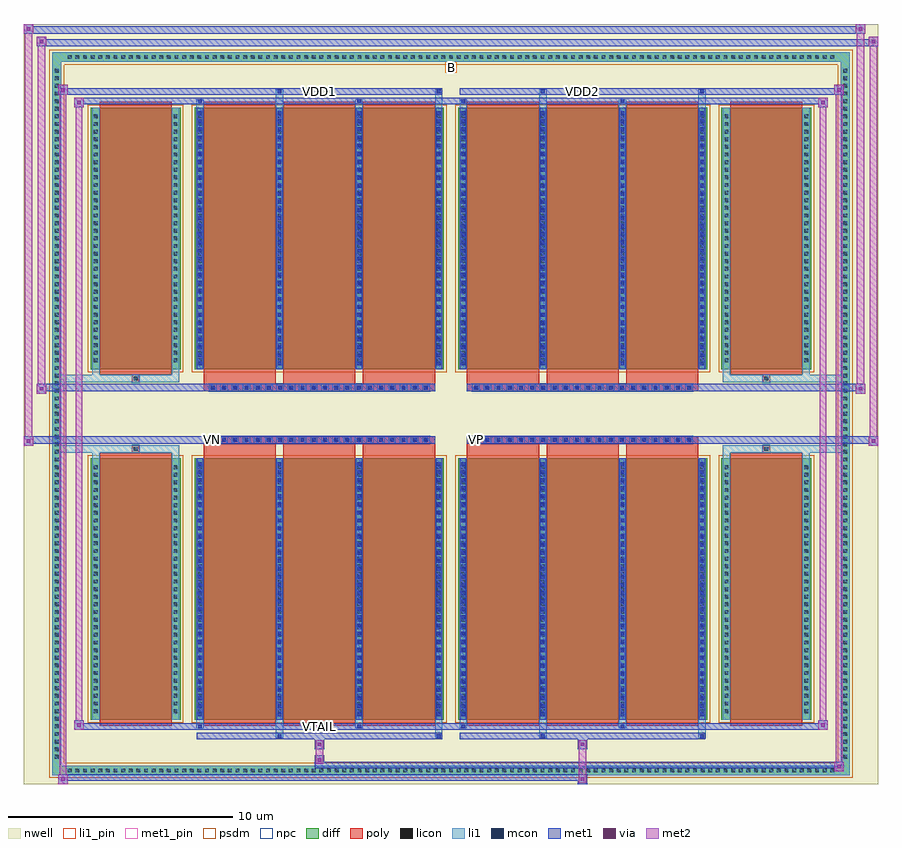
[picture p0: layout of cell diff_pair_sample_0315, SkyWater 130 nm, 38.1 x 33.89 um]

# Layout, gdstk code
import gdstk
lib = gdstk.Library(unit=1e-6, precision=5e-09)
def R(c, l, rs):  # rectangles x0, y0, x1, y1
    for r in rs: c.add(gdstk.rectangle(r[:2], r[2:], *l))
def A(c, l, x, y, w, h, nx, ny, dx, dy):  # array of equal rectangles
    R(c, l, [(x+i*dx, y+j*dy, x+i*dx+w, y+j*dy+h) for i in range(nx) for j in range(ny)])
def P(c, l, *ps):  # polygons
    for p in ps: c.add(gdstk.Polygon(p, *l))
nwell = (64, 20)
diff = (65, 20)
poly = (66, 20)
licon = (66, 44)
li1_pin = (67, 16)
li1 = (67, 20)
mcon = (67, 44)
met1_pin = (68, 16)
met1 = (68, 20)
via = (68, 44)
met2 = (69, 20)
psdm = (94, 20)
npc = (95, 20)

diff_pair_sample_0315 = lib.new_cell('diff_pair_sample_0315')
R(diff_pair_sample_0315, nwell, [(-19.05,-16.51,19.05,17.38), (-16.37,-14.7,-0.01,-0.8), (0.01,-14.7,16.37,-0.8), (-16.37,0.8,-0.01,14.7), (0.01,0.8,16.37,14.7)])
A(diff_pair_sample_0315, diff, -17.205, -16.11, 0.41, 0.41, 101, 2, 0.34, 31.81)
A(diff_pair_sample_0315, diff, -17.78, -15.505, 0.41, 0.41, 1, 91, 0, 0.34)
A(diff_pair_sample_0315, diff, 17.37, -15.505, 0.41, 0.41, 1, 91, 0, 0.34)
R(diff_pair_sample_0315, diff, [(-17.205,-16.11,17.205,-15.7), (-17.78,-15.505,-17.37,15.505), (17.37,-15.505,17.78,15.505), (-16.06,-13.655,-12.06,-1.985), (-11.42,-13.655,-0.32,-1.985), (0.32,-13.655,11.42,-1.985), (12.06,-13.655,16.06,-1.985), (-16.06,1.985,-12.06,13.655), (-11.42,1.985,-0.32,13.655), (0.32,1.985,11.42,13.655), (12.06,1.985,16.06,13.655), (-17.205,15.7,17.205,16.11)])
P(diff_pair_sample_0315, diff, [(17.78,16.11),(-17.78,16.11),(-17.78,-15.7),(-17.37,-15.7),(-17.37,15.7),(17.37,15.7),(17.37,-15.7),(-17.37,-15.7),(-17.78,-15.7),(-17.78,-16.11),(17.78,-16.11)])
A(diff_pair_sample_0315, poly, -11.03, -13.905, 3.22, 12.17, 3, 2, 3.55, 15.64)
A(diff_pair_sample_0315, poly, 0.71, -13.905, 3.22, 12.17, 3, 2, 3.55, 15.64)
A(diff_pair_sample_0315, poly, -11.03, -1.735, 3.22, 0.405, 3, 2, 3.55, 3.065)
A(diff_pair_sample_0315, poly, 0.71, -1.735, 3.22, 0.405, 3, 2, 3.55, 3.065)
A(diff_pair_sample_0315, poly, -10.785, -1.33, 0.33, 0.33, 20, 2, 0.5, 2.33)
A(diff_pair_sample_0315, poly, 0.955, -1.33, 0.33, 0.33, 20, 2, 0.5, 2.33)
R(diff_pair_sample_0315, poly, [(-15.67,-13.905,-12.45,-1.735), (12.45,-13.905,15.67,-1.735), (-14.225,-1.735,-13.895,-1.405), (-14.225,-1.735,-13.895,-1.405), (13.895,-1.735,14.225,-1.405), (13.895,-1.735,14.225,-1.405), (-11.03,-1.33,-0.71,-1), (0.71,-1.33,11.03,-1), (-11.03,1,-0.71,1.33), (0.71,1,11.03,1.33), (-14.225,1.405,-13.895,1.735), (-14.225,1.405,-13.895,1.735), (13.895,1.405,14.225,1.735), (13.895,1.405,14.225,1.735), (-15.67,1.735,-12.45,13.905), (12.45,1.735,15.67,13.905)])
A(diff_pair_sample_0315, licon, -17.085, -15.99, 0.17, 0.17, 101, 2, 0.34, 31.81)
A(diff_pair_sample_0315, licon, -17.66, -15.385, 0.17, 0.17, 1, 91, 0, 0.34)
A(diff_pair_sample_0315, licon, 17.49, -15.385, 0.17, 0.17, 1, 91, 0, 0.34)
A(diff_pair_sample_0315, licon, -15.92, -13.345, 0.17, 0.17, 1, 33, 0, 0.34)
A(diff_pair_sample_0315, licon, -12.37, -13.345, 0.17, 0.17, 1, 33, 0, 0.34)
A(diff_pair_sample_0315, licon, -11.28, -13.345, 0.17, 0.17, 4, 33, 3.55, 0.34)
A(diff_pair_sample_0315, licon, 0.46, -13.345, 0.17, 0.17, 4, 33, 3.55, 0.34)
A(diff_pair_sample_0315, licon, 12.2, -13.345, 0.17, 0.17, 1, 33, 0, 0.34)
A(diff_pair_sample_0315, licon, 15.75, -13.345, 0.17, 0.17, 1, 33, 0, 0.34)
A(diff_pair_sample_0315, licon, -10.705, -1.25, 0.17, 0.17, 20, 2, 0.5, 2.33)
A(diff_pair_sample_0315, licon, 1.035, -1.25, 0.17, 0.17, 20, 2, 0.5, 2.33)
A(diff_pair_sample_0315, licon, -15.92, 2.295, 0.17, 0.17, 1, 33, 0, 0.34)
A(diff_pair_sample_0315, licon, -12.37, 2.295, 0.17, 0.17, 1, 33, 0, 0.34)
A(diff_pair_sample_0315, licon, -11.28, 2.295, 0.17, 0.17, 4, 33, 3.55, 0.34)
A(diff_pair_sample_0315, licon, 0.46, 2.295, 0.17, 0.17, 4, 33, 3.55, 0.34)
A(diff_pair_sample_0315, licon, 12.2, 2.295, 0.17, 0.17, 1, 33, 0, 0.34)
A(diff_pair_sample_0315, licon, 15.75, 2.295, 0.17, 0.17, 1, 33, 0, 0.34)
R(diff_pair_sample_0315, licon, [(-14.145,-1.655,-13.975,-1.485), (13.975,-1.655,14.145,-1.485), (-14.145,1.485,-13.975,1.655), (13.975,1.485,14.145,1.655)])
R(diff_pair_sample_0315, li1_pin, [(-0.25,15.2,0.25,15.7)])
A(diff_pair_sample_0315, li1, -17.165, -16.07, 0.33, 0.33, 101, 2, 0.34, 31.81)
A(diff_pair_sample_0315, li1, -17.74, -15.465, 0.33, 0.33, 1, 91, 0, 0.34)
A(diff_pair_sample_0315, li1, 17.41, -15.465, 0.33, 0.33, 1, 91, 0, 0.34)
A(diff_pair_sample_0315, li1, -11.36, -13.655, 0.33, 11.67, 4, 2, 3.55, 15.64)
A(diff_pair_sample_0315, li1, 0.38, -13.655, 0.33, 11.67, 4, 2, 3.55, 15.64)
A(diff_pair_sample_0315, li1, -11.28, -13.485, 0.17, 0.17, 4, 32, 3.55, 0.36)
A(diff_pair_sample_0315, li1, -11.28, -13.485, 0.17, 11.33, 4, 2, 3.55, 15.64)
A(diff_pair_sample_0315, li1, 0.46, -13.485, 0.17, 0.17, 4, 32, 3.55, 0.36)
A(diff_pair_sample_0315, li1, 0.46, -13.485, 0.17, 11.33, 4, 2, 3.55, 15.64)
A(diff_pair_sample_0315, li1, -16, -13.425, 0.33, 0.33, 1, 33, 0, 0.34)
A(diff_pair_sample_0315, li1, -12.45, -13.425, 0.33, 0.33, 1, 33, 0, 0.34)
A(diff_pair_sample_0315, li1, -11.36, -13.425, 0.33, 0.33, 4, 33, 3.55, 0.34)
A(diff_pair_sample_0315, li1, 0.38, -13.425, 0.33, 0.33, 4, 33, 3.55, 0.34)
A(diff_pair_sample_0315, li1, 12.12, -13.425, 0.33, 0.33, 1, 33, 0, 0.34)
A(diff_pair_sample_0315, li1, 15.67, -13.425, 0.33, 0.33, 1, 33, 0, 0.34)
A(diff_pair_sample_0315, li1, -10.785, -1.33, 0.33, 0.33, 20, 2, 0.5, 2.33)
A(diff_pair_sample_0315, li1, 0.955, -1.33, 0.33, 0.33, 20, 2, 0.5, 2.33)
A(diff_pair_sample_0315, li1, -11.28, 2.155, 0.17, 0.17, 4, 32, 3.55, 0.36)
A(diff_pair_sample_0315, li1, 0.46, 2.155, 0.17, 0.17, 4, 32, 3.55, 0.36)
A(diff_pair_sample_0315, li1, -16, 2.215, 0.33, 0.33, 1, 33, 0, 0.34)
A(diff_pair_sample_0315, li1, -12.45, 2.215, 0.33, 0.33, 1, 33, 0, 0.34)
A(diff_pair_sample_0315, li1, -11.36, 2.215, 0.33, 0.33, 4, 33, 3.55, 0.34)
A(diff_pair_sample_0315, li1, 0.38, 2.215, 0.33, 0.33, 4, 33, 3.55, 0.34)
A(diff_pair_sample_0315, li1, 12.12, 2.215, 0.33, 0.33, 1, 33, 0, 0.34)
A(diff_pair_sample_0315, li1, 15.67, 2.215, 0.33, 0.33, 1, 33, 0, 0.34)
R(diff_pair_sample_0315, li1, [(-17.78,-16.11,-17.37,-15.7), (-17.78,-16.11,-17.37,-15.7), (-17.37,-16.11,17.37,-15.7), (17.37,-16.11,17.78,-15.7), (17.37,-16.11,17.78,-15.7), (-17.78,-15.7,-17.37,15.7), (17.37,-15.7,17.78,15.7), (-7.81,-14.46,-7.48,-13.655), (-7.73,-14.46,-7.56,-14.29), (-0.71,-14.46,-0.38,-13.655), (-0.63,-14.46,-0.46,-14.29), (3.93,-14.46,4.26,-13.655), (4.01,-14.46,4.18,-14.29), (11.03,-14.46,11.36,-13.655), (11.11,-14.46,11.28,-14.29), (-11.36,-14.03,-11.03,-13.655), (-11.28,-14.03,-11.11,-13.86), (-4.26,-14.03,-3.93,-13.655), (-4.18,-14.03,-4.01,-13.86), (0.38,-14.03,0.71,-13.655), (0.46,-14.03,0.63,-13.86), (7.48,-14.03,7.81,-13.655), (7.56,-14.03,7.73,-13.86), (-16,-13.655,-15.67,-1.985), (-12.45,-13.655,-12.12,-1.985), (12.12,-13.655,12.45,-1.985), (15.67,-13.655,16,-1.985), (-16,-1.985,-15.67,-1.405), (-12.45,-1.985,-12.12,-1.405), (12.12,-1.985,12.45,-1.405), (15.67,-1.985,16,-1.405), (-17.78,-1.735,-14.225,-1.405), (-16,-1.735,-14.225,-1.405), (-14.225,-1.735,-13.895,-1.405), (-13.895,-1.735,-12.12,-1.405), (12.12,-1.735,13.895,-1.405), (13.895,-1.735,14.225,-1.405), (13.895,-1.735,17.78,-1.405), (14.225,-1.735,16,-1.405), (-17.78,1.405,-14.225,1.735), (-16,1.405,-14.225,1.735), (-16,1.405,-15.67,1.985), (-14.225,1.405,-13.895,1.735), (-13.895,1.405,-12.12,1.735), (-12.45,1.405,-12.12,1.985), (12.12,1.405,13.895,1.735), (12.12,1.405,12.45,1.985), (13.895,1.405,14.225,1.735), (13.895,1.405,17.78,1.735), (14.225,1.405,16,1.735), (15.67,1.405,16,1.985), (-16,1.985,-15.67,13.655), (-12.45,1.985,-12.12,13.655), (12.12,1.985,12.45,13.655), (15.67,1.985,16,13.655), (-11.36,13.655,-11.03,14.03), (-7.81,13.655,-7.48,14.46), (-4.26,13.655,-3.93,14.03), (-0.71,13.655,-0.38,14.46), (0.38,13.655,0.71,14.03), (3.93,13.655,4.26,14.46), (7.48,13.655,7.81,14.03), (11.03,13.655,11.36,14.46), (-11.28,13.86,-11.11,14.03), (-4.18,13.86,-4.01,14.03), (0.46,13.86,0.63,14.03), (7.56,13.86,7.73,14.03), (-7.73,14.29,-7.56,14.46), (-0.63,14.29,-0.46,14.46), (4.01,14.29,4.18,14.46), (11.11,14.29,11.28,14.46), (-17.78,15.7,-17.37,16.11), (-17.78,15.7,-17.37,16.11), (-17.37,15.7,17.37,16.11), (17.37,15.7,17.78,16.11), (17.37,15.7,17.78,16.11)])
A(diff_pair_sample_0315, mcon, -11.28, -13.485, 0.17, 0.17, 4, 32, 3.55, 0.36)
A(diff_pair_sample_0315, mcon, 0.46, -13.485, 0.17, 0.17, 4, 32, 3.55, 0.36)
A(diff_pair_sample_0315, mcon, -10.705, -1.25, 0.17, 0.17, 20, 2, 0.5, 2.33)
A(diff_pair_sample_0315, mcon, 1.035, -1.25, 0.17, 0.17, 20, 2, 0.5, 2.33)
A(diff_pair_sample_0315, mcon, -11.28, 2.155, 0.17, 0.17, 4, 32, 3.55, 0.36)
A(diff_pair_sample_0315, mcon, 0.46, 2.155, 0.17, 0.17, 4, 32, 3.55, 0.36)
R(diff_pair_sample_0315, mcon, [(-7.73,-14.46,-7.56,-14.29), (-0.63,-14.46,-0.46,-14.29), (4.01,-14.46,4.18,-14.29), (11.11,-14.46,11.28,-14.29), (-11.28,-14.03,-11.11,-13.86), (-4.18,-14.03,-4.01,-13.86), (0.46,-14.03,0.63,-13.86), (7.56,-14.03,7.73,-13.86), (-11.28,13.86,-11.11,14.03), (-4.18,13.86,-4.01,14.03), (0.46,13.86,0.63,14.03), (7.56,13.86,7.73,14.03), (-7.73,14.29,-7.56,14.46), (-0.63,14.29,-0.46,14.46), (4.01,14.29,4.18,14.46), (11.11,14.29,11.28,14.46)])
R(diff_pair_sample_0315, met1_pin, [(-6.005,-14.07,-5.735,-13.8), (-10.755,-1.29,-10.485,-1.02), (0.985,-1.29,1.255,-1.02), (-6.005,14.25,-5.735,14.52), (5.735,14.25,6.005,14.52)])
A(diff_pair_sample_0315, met1, -11.34, -13.655, 0.29, 11.67, 4, 2, 3.55, 15.64)
A(diff_pair_sample_0315, met1, 0.4, -13.655, 0.29, 11.67, 4, 2, 3.55, 15.64)
A(diff_pair_sample_0315, met1, -11.34, -13.545, 0.29, 0.29, 4, 32, 3.55, 0.36)
A(diff_pair_sample_0315, met1, 0.4, -13.545, 0.29, 0.29, 4, 32, 3.55, 0.36)
A(diff_pair_sample_0315, met1, -10.765, -1.31, 0.29, 0.29, 20, 2, 0.5, 2.33)
A(diff_pair_sample_0315, met1, 0.975, -1.31, 0.29, 0.29, 20, 2, 0.5, 2.33)
A(diff_pair_sample_0315, met1, -11.34, 2.095, 0.29, 0.29, 4, 32, 3.55, 0.36)
A(diff_pair_sample_0315, met1, 0.4, 2.095, 0.29, 0.29, 4, 32, 3.55, 0.36)
R(diff_pair_sample_0315, met1, [(-17.51,-16.51,-17.08,-16.08), (5.655,-16.51,6.085,-16.08), (-17.51,-16.37,6.085,-16.08), (17.08,-15.94,17.51,-15.51), (-6.085,-15.8,17.51,-15.51), (-6.085,-15.66,-5.655,-15.23), (-6.085,-14.95,-5.655,-14.52), (5.655,-14.95,6.085,-14.52), (-11.34,-14.52,-0.4,-14.23), (-7.79,-14.52,-7.5,-14.23), (-0.69,-14.52,-0.4,-14.23), (0.4,-14.52,11.34,-14.23), (3.95,-14.52,4.24,-14.23), (11.05,-14.52,11.34,-14.23), (-16.8,-14.09,-16.37,-13.66), (-16.8,-14.09,-11.34,-13.8), (-11.34,-14.09,-11.05,-13.8), (-11.34,-14.09,-0.4,-13.8), (-4.24,-14.09,-3.95,-13.8), (-0.4,-14.09,0.4,-13.8), (0.4,-14.09,0.69,-13.8), (0.4,-14.09,11.34,-13.8), (7.5,-14.09,7.79,-13.8), (11.34,-14.09,16.8,-13.8), (16.37,-14.09,16.8,-13.66), (-19.05,-1.43,-18.62,-1), (18.62,-1.43,19.05,-1), (-19.05,-1.33,-0.71,-1), (-11.03,-1.33,-0.71,-1), (0.71,-1.33,11.03,-1), (0.71,-1.33,19.05,-1), (-18.48,0.9,-18.05,1.33), (18.05,0.9,18.48,1.33), (-18.48,1,-11.03,1.33), (-11.03,1,-0.71,1.33), (0.71,1,11.03,1.33), (11.03,1,18.48,1.33), (-16.8,13.66,-16.37,14.09), (16.37,13.66,16.8,14.09), (-16.8,13.8,-11.34,14.09), (-11.34,13.8,-11.05,14.09), (-11.34,13.8,-0.4,14.09), (-4.24,13.8,-3.95,14.09), (-0.4,13.8,0.4,14.09), (0.4,13.8,0.69,14.09), (0.4,13.8,11.34,14.09), (7.5,13.8,7.79,14.09), (11.34,13.8,16.8,14.09), (-17.51,14.23,-17.08,14.66), (-17.51,14.23,-11.34,14.52), (-11.34,14.23,-0.4,14.52), (-7.79,14.23,-7.5,14.52), (-0.69,14.23,-0.4,14.52), (0.4,14.23,11.34,14.52), (3.95,14.23,4.24,14.52), (11.05,14.23,11.34,14.52), (11.34,14.23,17.51,14.52), (17.08,14.23,17.51,14.66), (-18.48,16.38,-18.05,16.81), (-18.48,16.38,-16.37,16.71), (-16.37,16.38,16.37,16.71), (16.37,16.38,19.05,16.71), (18.62,16.38,19.05,16.81), (-19.05,16.95,-18.62,17.38), (-19.05,16.95,-16.37,17.28), (-16.37,16.95,16.37,17.28), (16.37,16.95,18.48,17.28), (18.05,16.95,18.48,17.38)])
R(diff_pair_sample_0315, via, [(-17.37,-16.37,-17.22,-16.22), (5.795,-16.37,5.945,-16.22), (17.22,-15.8,17.37,-15.65), (-5.945,-15.52,-5.795,-15.37), (-5.945,-14.81,-5.795,-14.66), (5.795,-14.81,5.945,-14.66), (-16.66,-13.95,-16.51,-13.8), (16.51,-13.95,16.66,-13.8), (-18.91,-1.29,-18.76,-1.14), (18.76,-1.29,18.91,-1.14), (-18.34,1.04,-18.19,1.19), (18.19,1.04,18.34,1.19), (-16.66,13.8,-16.51,13.95), (16.51,13.8,16.66,13.95), (-17.37,14.37,-17.22,14.52), (17.22,14.37,17.37,14.52), (-18.34,16.52,-18.19,16.67), (18.76,16.52,18.91,16.67), (-18.91,17.09,-18.76,17.24), (18.19,17.09,18.34,17.24)])
R(diff_pair_sample_0315, met2, [(-17.51,-16.51,-17.08,-16.08), (-17.44,-16.51,-17.15,14.66), (-17.15,-16.51,-17.08,-16.08), (-17.46,-16.46,-17.13,-16.13), (5.705,-16.46,6.035,-16.13), (5.705,-16.13,6.035,-14.9), (17.08,-15.94,17.51,-15.51), (17.15,-15.94,17.44,14.66), (17.44,-15.94,17.51,-15.51), (17.13,-15.89,17.46,-15.56), (-6.035,-15.61,-5.705,-15.28), (-6.035,-15.28,-5.705,-14.9), (-6.035,-14.9,-5.705,-14.57), (5.705,-14.9,6.035,-14.57), (-16.8,-14.09,-16.37,-13.66), (-16.73,-14.09,-16.44,14.09), (-16.44,-14.09,-16.37,-13.66), (16.37,-14.09,16.8,-13.66), (16.44,-14.09,16.73,14.09), (16.73,-14.09,16.8,-13.66), (-16.75,-14.04,-16.42,-13.71), (16.42,-14.04,16.75,-13.71), (-19.05,-1.43,-18.62,-1), (-19,-1.43,-18.67,17.38), (-18.67,-1.43,-18.62,-1), (18.62,-1.43,19.05,-1), (18.67,-1.43,19,16.81), (19,-1.43,19.05,-1), (-19,-1.38,-18.67,-1.05), (18.67,-1.38,19,-1.05), (-18.48,0.9,-18.05,1.33), (-18.43,0.9,-18.1,16.81), (-18.1,0.9,-18.05,1.33), (18.05,0.9,18.48,1.33), (18.1,0.9,18.43,17.38), (18.43,0.9,18.48,1.33), (-18.43,0.95,-18.1,1.28), (18.1,0.95,18.43,1.28), (-16.8,13.66,-16.37,14.09), (-16.44,13.66,-16.37,14.09), (16.37,13.66,16.8,14.09), (16.73,13.66,16.8,14.09), (-16.75,13.71,-16.42,14.04), (16.42,13.71,16.75,14.04), (-17.51,14.23,-17.08,14.66), (-17.15,14.23,-17.08,14.66), (17.08,14.23,17.51,14.66), (17.44,14.23,17.51,14.66), (-17.46,14.28,-17.13,14.61), (17.13,14.28,17.46,14.61), (-18.48,16.38,-18.05,16.81), (-18.1,16.38,-18.05,16.81), (18.62,16.38,19.05,16.81), (19,16.38,19.05,16.81), (-18.43,16.43,-18.1,16.76), (18.67,16.43,19,16.76), (-19.05,16.95,-18.62,17.38), (-18.67,16.95,-18.62,17.38), (18.05,16.95,18.48,17.38), (18.43,16.95,18.48,17.38), (-19,17,-18.67,17.33), (18.1,17,18.43,17.33)])
R(diff_pair_sample_0315, psdm, [(-16.19,-13.785,-11.93,-1.855), (-11.55,-13.785,-0.19,-1.855), (0.19,-13.785,11.55,-1.855), (11.93,-13.785,16.19,-1.855), (-16.19,1.855,-11.93,13.785), (-11.55,1.855,-0.19,13.785), (0.19,1.855,11.55,13.785), (11.93,1.855,16.19,13.785)])
P(diff_pair_sample_0315, psdm, [(17.91,16.24),(-17.91,16.24),(-17.91,-15.57),(-17.24,-15.57),(-17.24,15.57),(17.24,15.57),(17.24,-15.57),(-17.24,-15.57),(-17.91,-15.57),(-17.91,-16.24),(17.91,-16.24)])
A(diff_pair_sample_0315, npc, -10.805, -1.35, 0.37, 0.37, 20, 2, 0.5, 2.33)
A(diff_pair_sample_0315, npc, 0.935, -1.35, 0.37, 0.37, 20, 2, 0.5, 2.33)
R(diff_pair_sample_0315, npc, [(-14.245,-1.755,-13.875,-1.385), (13.875,-1.755,14.245,-1.385), (-10.805,-1.35,-9.935,-0.98), (-10.805,-1.35,-9.935,-0.98), (-10.305,-1.35,-9.435,-0.98), (-10.305,-1.35,-9.435,-0.98), (-9.805,-1.35,-8.935,-0.98), (-9.805,-1.35,-8.935,-0.98), (-9.305,-1.35,-8.435,-0.98), (-9.305,-1.35,-8.435,-0.98), (-8.805,-1.35,-7.935,-0.98), (-8.805,-1.35,-7.935,-0.98), (-8.305,-1.35,-7.435,-0.98), (-8.305,-1.35,-7.435,-0.98), (-7.805,-1.35,-6.935,-0.98), (-7.805,-1.35,-6.935,-0.98), (-7.305,-1.35,-6.435,-0.98), (-7.305,-1.35,-6.435,-0.98), (-6.805,-1.35,-5.935,-0.98), (-6.805,-1.35,-5.935,-0.98), (-6.305,-1.35,-5.435,-0.98), (-6.305,-1.35,-5.435,-0.98), (-5.805,-1.35,-4.935,-0.98), (-5.805,-1.35,-4.935,-0.98), (-5.305,-1.35,-4.435,-0.98), (-5.305,-1.35,-4.435,-0.98), (-4.805,-1.35,-3.935,-0.98), (-4.805,-1.35,-3.935,-0.98), (-4.305,-1.35,-3.435,-0.98), (-4.305,-1.35,-3.435,-0.98), (-3.805,-1.35,-2.935,-0.98), (-3.805,-1.35,-2.935,-0.98), (-3.305,-1.35,-2.435,-0.98), (-3.305,-1.35,-2.435,-0.98), (-2.805,-1.35,-1.935,-0.98), (-2.805,-1.35,-1.935,-0.98), (-2.305,-1.35,-1.435,-0.98), (-2.305,-1.35,-1.435,-0.98), (-1.805,-1.35,-0.935,-0.98), (-1.805,-1.35,-0.935,-0.98), (0.935,-1.35,1.805,-0.98), (0.935,-1.35,1.805,-0.98), (1.435,-1.35,2.305,-0.98), (1.435,-1.35,2.305,-0.98), (1.935,-1.35,2.805,-0.98), (1.935,-1.35,2.805,-0.98), (2.435,-1.35,3.305,-0.98), (2.435,-1.35,3.305,-0.98), (2.935,-1.35,3.805,-0.98), (2.935,-1.35,3.805,-0.98), (3.435,-1.35,4.305,-0.98), (3.435,-1.35,4.305,-0.98), (3.935,-1.35,4.805,-0.98), (3.935,-1.35,4.805,-0.98), (4.435,-1.35,5.305,-0.98), (4.435,-1.35,5.305,-0.98), (4.935,-1.35,5.805,-0.98), (4.935,-1.35,5.805,-0.98), (5.435,-1.35,6.305,-0.98), (5.435,-1.35,6.305,-0.98), (5.935,-1.35,6.805,-0.98), (5.935,-1.35,6.805,-0.98), (6.435,-1.35,7.305,-0.98), (6.435,-1.35,7.305,-0.98), (6.935,-1.35,7.805,-0.98), (6.935,-1.35,7.805,-0.98), (7.435,-1.35,8.305,-0.98), (7.435,-1.35,8.305,-0.98), (7.935,-1.35,8.805,-0.98), (7.935,-1.35,8.805,-0.98), (8.435,-1.35,9.305,-0.98), (8.435,-1.35,9.305,-0.98), (8.935,-1.35,9.805,-0.98), (8.935,-1.35,9.805,-0.98), (9.435,-1.35,10.305,-0.98), (9.435,-1.35,10.305,-0.98), (9.935,-1.35,10.805,-0.98), (9.935,-1.35,10.805,-0.98), (-10.805,0.98,-9.935,1.35), (-10.805,0.98,-9.935,1.35), (-10.305,0.98,-9.435,1.35), (-10.305,0.98,-9.435,1.35), (-9.805,0.98,-8.935,1.35), (-9.805,0.98,-8.935,1.35), (-9.305,0.98,-8.435,1.35), (-9.305,0.98,-8.435,1.35), (-8.805,0.98,-7.935,1.35), (-8.805,0.98,-7.935,1.35), (-8.305,0.98,-7.435,1.35), (-8.305,0.98,-7.435,1.35), (-7.805,0.98,-6.935,1.35), (-7.805,0.98,-6.935,1.35), (-7.305,0.98,-6.435,1.35), (-7.305,0.98,-6.435,1.35), (-6.805,0.98,-5.935,1.35), (-6.805,0.98,-5.935,1.35), (-6.305,0.98,-5.435,1.35), (-6.305,0.98,-5.435,1.35), (-5.805,0.98,-4.935,1.35), (-5.805,0.98,-4.935,1.35), (-5.305,0.98,-4.435,1.35), (-5.305,0.98,-4.435,1.35), (-4.805,0.98,-3.935,1.35), (-4.805,0.98,-3.935,1.35), (-4.305,0.98,-3.435,1.35), (-4.305,0.98,-3.435,1.35), (-3.805,0.98,-2.935,1.35), (-3.805,0.98,-2.935,1.35), (-3.305,0.98,-2.435,1.35), (-3.305,0.98,-2.435,1.35), (-2.805,0.98,-1.935,1.35), (-2.805,0.98,-1.935,1.35), (-2.305,0.98,-1.435,1.35), (-2.305,0.98,-1.435,1.35), (-1.805,0.98,-0.935,1.35), (-1.805,0.98,-0.935,1.35), (0.935,0.98,1.805,1.35), (0.935,0.98,1.805,1.35), (1.435,0.98,2.305,1.35), (1.435,0.98,2.305,1.35), (1.935,0.98,2.805,1.35), (1.935,0.98,2.805,1.35), (2.435,0.98,3.305,1.35), (2.435,0.98,3.305,1.35), (2.935,0.98,3.805,1.35), (2.935,0.98,3.805,1.35), (3.435,0.98,4.305,1.35), (3.435,0.98,4.305,1.35), (3.935,0.98,4.805,1.35), (3.935,0.98,4.805,1.35), (4.435,0.98,5.305,1.35), (4.435,0.98,5.305,1.35), (4.935,0.98,5.805,1.35), (4.935,0.98,5.805,1.35), (5.435,0.98,6.305,1.35), (5.435,0.98,6.305,1.35), (5.935,0.98,6.805,1.35), (5.935,0.98,6.805,1.35), (6.435,0.98,7.305,1.35), (6.435,0.98,7.305,1.35), (6.935,0.98,7.805,1.35), (6.935,0.98,7.805,1.35), (7.435,0.98,8.305,1.35), (7.435,0.98,8.305,1.35), (7.935,0.98,8.805,1.35), (7.935,0.98,8.805,1.35), (8.435,0.98,9.305,1.35), (8.435,0.98,9.305,1.35), (8.935,0.98,9.805,1.35), (8.935,0.98,9.805,1.35), (9.435,0.98,10.305,1.35), (9.435,0.98,10.305,1.35), (9.935,0.98,10.805,1.35), (9.935,0.98,10.805,1.35), (-14.245,1.385,-13.875,1.755), (13.875,1.385,14.245,1.755)])
diff_pair_sample_0315.add(gdstk.Label('VTAIL', (-5.87,-13.935), layer=68, texttype=5))
diff_pair_sample_0315.add(gdstk.Label('VN', (-10.62,-1.155), layer=68, texttype=5))
diff_pair_sample_0315.add(gdstk.Label('VP', (1.12,-1.155), layer=68, texttype=5))
diff_pair_sample_0315.add(gdstk.Label('B', (0,15.45), layer=67, texttype=5))
diff_pair_sample_0315.add(gdstk.Label('VDD2', (5.87,14.385), layer=68, texttype=5))
diff_pair_sample_0315.add(gdstk.Label('VDD1', (-5.87,14.385), layer=68, texttype=5))

lib.write_gds('diff_pair_sample_0315.gds')
